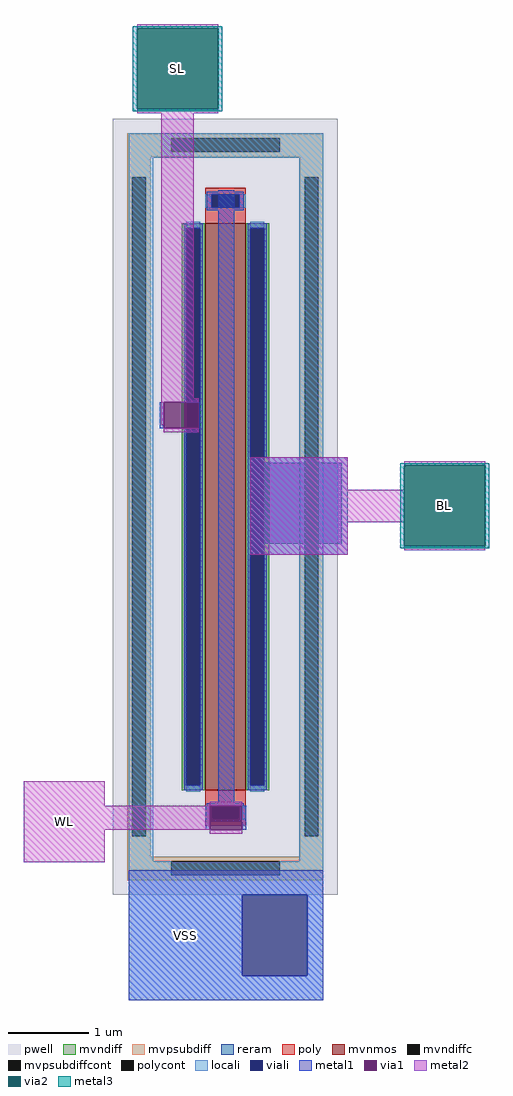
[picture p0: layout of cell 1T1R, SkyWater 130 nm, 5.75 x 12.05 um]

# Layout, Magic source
magic
tech sky130B
magscale 1 2
<< locali >>
rect -100 2500 380 2560
rect -100 760 -40 2500
rect 320 760 380 2500
rect -100 680 380 760
rect -100 480 180 680
rect 340 480 380 680
rect -100 420 380 480
<< viali >>
rect 180 480 340 680
<< metal1 >>
rect -24 1832 -14 1896
rect 72 1832 82 1896
rect 120 900 160 2420
rect 200 1520 440 1760
rect 90 840 100 900
rect 180 840 190 900
rect -100 680 380 740
rect -100 480 180 680
rect 340 480 380 680
rect -100 420 380 480
<< via1 >>
rect -14 1832 72 1896
rect 100 840 180 900
<< metal2 >>
rect -80 2820 120 2830
rect -80 2610 120 2620
rect -20 1906 60 2610
rect -20 1896 72 1906
rect -20 1840 -14 1896
rect -14 1822 72 1832
rect 200 1680 440 1760
rect 580 1740 780 1750
rect 200 1600 580 1680
rect 200 1520 440 1600
rect 580 1530 780 1540
rect -360 900 -160 960
rect 100 900 180 910
rect -360 840 100 900
rect -360 760 -160 840
rect 100 830 180 840
<< via2 >>
rect -80 2620 120 2820
rect 580 1540 780 1740
<< metal3 >>
rect -90 2820 130 2825
rect -90 2620 -80 2820
rect 120 2620 130 2820
rect -90 2615 130 2620
rect 570 1740 790 1745
rect 570 1540 580 1740
rect 780 1540 790 1740
rect 570 1535 790 1540
use sky130_fd_pr__nfet_g5v0d10v5_9YEQ2B  XM1
transform 1 0 138 0 1 1638
box -278 -958 278 958
use sky130_fd_pr_reram__reram_cell_X  XR1
transform 1 0 256 0 1 2038
box -36 -498 176 -286
<< labels >>
flabel metal1 -60 480 140 680 0 FreeSans 256 0 0 0 VSS
port 1 nsew
flabel metal2 -360 760 -160 960 0 FreeSans 256 0 0 0 WL
port 2 nsew
flabel metal3 580 1540 780 1740 0 FreeSans 256 0 0 0 BL
port 3 nsew
flabel metal3 -80 2620 120 2820 0 FreeSans 256 0 0 0 SL
port 0 nsew
<< end >>

# cell sky130_fd_pr__nfet_g5v0d10v5_9YEQ2B: kit device sky130_fd_pr__nfet_g5v0d10v5, w 7.0 l 0.5 m 1 nf 1 diffcov 100 polycov 100 guard 1 glc 1 grc 1 gtc 1 gbc 1 tbcov 100 rlcov 100 topc 1 botc 1 poverlap 0 doverlap 1 lmin 0.50 wmin 0.42 compatible {sky130_fd_pr__nfet_01v8 sky130_fd_pr__nfet_01v8_lvt sky130_fd_bs_flash__special_sonosfet_star sky130_fd_pr__nfet_g5v0d10v5 sky130_fd_pr__nfet_05v0_nvt sky130_fd_pr__nfet_03v3_nvt} full_metal 1 viasrc 100 viadrn 100 viagate 100 viagb 0 viagr 0 viagl 0 viagt 0

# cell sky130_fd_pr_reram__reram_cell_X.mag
magic
tech sky130B
<< metal1 >>
rect -15 -246 85 -146
<< reram >>
rect -15 -246 85 -146
<< labels >>
flabel metal1 -15 -246 85 -146 0 FreeSans 128 0 0 0 BE
port 1 nsew
flabel reram -15 -246 85 -146 0 FreeSans 128 0 0 0 TE
port 0 nsew
<< end >>
